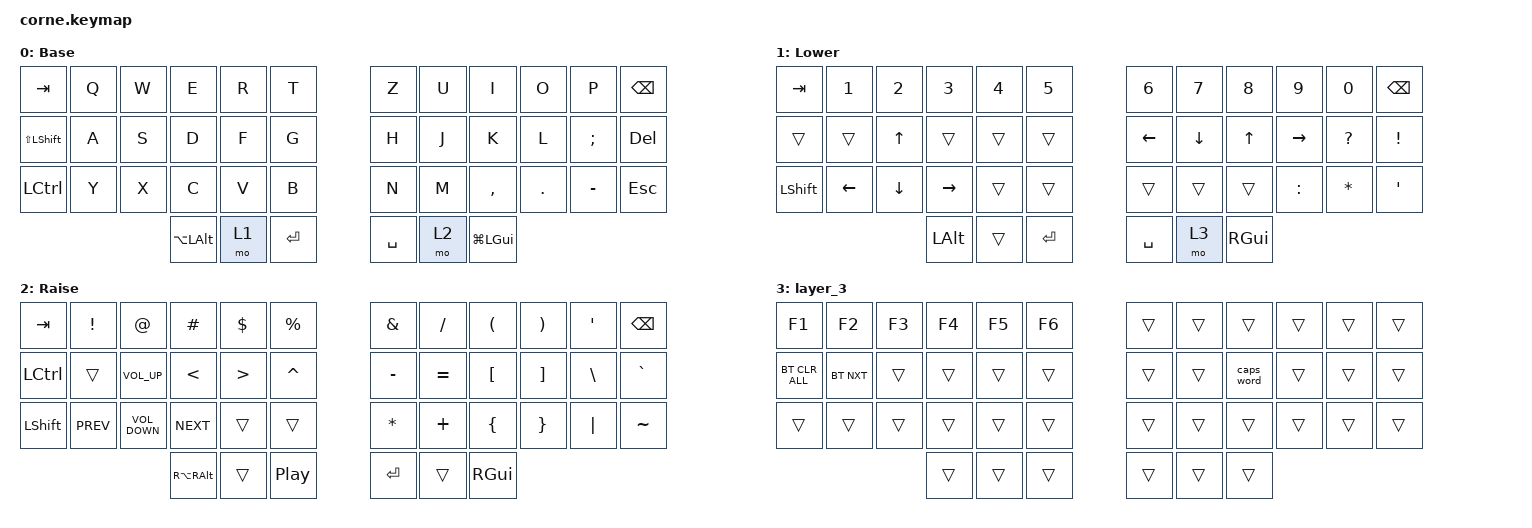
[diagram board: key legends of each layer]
/*
 * Copyright (c) 2020 The ZMK Contributors
 *
 * SPDX-License-Identifier: MIT
 */

#include <behaviors.dtsi>
#include <dt-bindings/zmk/bt.h>
#include <dt-bindings/zmk/keys.h>

/ {
    combos {
        compatible = "zmk,combos";

        altgr {
            bindings = <&kt RIGHT_ALT>;
            key-positions = <12 36>;
        };
    };

    keymap {
        compatible = "zmk,keymap";

        default_layer {
            // -----------------------------------------------------------------------------------------
            // |  TAB |  Q  |  W  |  E  |  R  |  T  |   |  Y  |  U   |  I  |  O  |  P  | BKSP |
            // | CTRL |  A  |  S  |  D  |  F  |  G  |   |  H  |  J   |  K  |  L  |  ;  |  '   |
            // | SHFT |  Z  |  X  |  C  |  V  |  B  |   |  N  |  M   |  ,  |  .  |  /  | ESC  |
            //                    | GUI | LWR | SPC |   | ENT | RSE  | ALT |

            display-name = "Base";
            bindings = <
&kp TAB             &kp Q  &kp W  &kp E             &kp R  &kp T        &kp Z      &kp U  &kp I             &kp O    &kp P      &kp BSPC
&kp LS(LEFT_SHIFT)  &kp A  &kp S  &kp D             &kp F  &kp G        &kp H      &kp J  &kp K             &kp L    &kp SEMI   &kp DEL
&kp LCTRL           &kp Y  &kp X  &kp C             &kp V  &kp B        &kp N      &kp M  &kp COMMA         &kp DOT  &kp MINUS  &kp ESC
                                  &kp LA(LEFT_ALT)  &mo 1  &kp ENTER    &kp SPACE  &mo 2  &kp LG(LEFT_GUI)
            >;
        };

        lower_layer {
            // -----------------------------------------------------------------------------------------
            // |  TAB |  1  |  2  |  3  |  4  |  5  |   |  6  |  7  |  8  |  9  |  0  | BKSP |
            // | BTCLR| BT1 | BT2 | BT3 | BT4 | BT5 |   | LFT | DWN |  UP | RGT |     |      |
            // | SHFT |     |     |     |     |     |   |     |     |     |     |     |      |
            //                    | GUI |     | SPC |   | ENT |     | ALT |

            display-name = "Lower";
            bindings = <
&kp TAB    &kp N1          &kp N2          &kp N3           &kp N4  &kp N5       &kp N6     &kp N7    &kp N8         &kp N9     &kp N0        &kp BSPC
&trans     &trans          &kp UP_ARROW    &trans           &trans  &trans       &kp LEFT   &kp DOWN  &kp UP         &kp RIGHT  &kp QUESTION  &kp EXCL
&kp LSHFT  &kp LEFT_ARROW  &kp DOWN_ARROW  &kp RIGHT_ARROW  &trans  &trans       &trans     &trans    &trans         &kp COLON  &kp ASTERISK  &kp APOS
                                           &kp LEFT_ALT     &trans  &kp ENTER    &kp SPACE  &mo 3     &kp RIGHT_GUI
            >;
        };

        raise_layer {
            // -----------------------------------------------------------------------------------------
            // |  TAB |  !  |  @  |  #  |  $  |  %  |   |  ^  |  &  |  *  |  (  |  )  | BKSP |
            // | CTRL |     |     |     |     |     |   |  -  |  =  |  [  |  ]  |  \  |  `   |
            // | SHFT |     |     |     |     |     |   |  _  |  +  |  {  |  }  | "|" |  ~   |
            //                    | GUI |     | SPC |   | ENT |     | ALT |

            display-name = "Raise";
            bindings = <
&kp TAB    &kp EXCL    &kp AT             &kp HASH           &kp DLLR          &kp PRCNT           &kp AMPERSAND  &kp SLASH  &kp LEFT_PARENTHESIS  &kp RIGHT_PARENTHESIS  &kp APOSTROPHE  &kp BSPC
&kp LCTRL  &trans      &kp C_VOLUME_UP    &kp LESS_THAN      &kp GREATER_THAN  &kp CARET           &kp MINUS      &kp EQUAL  &kp LBKT              &kp RBKT               &kp BSLH        &kp GRAVE
&kp LSHFT  &kp C_PREV  &kp C_VOLUME_DOWN  &kp C_NEXT         &trans            &trans              &kp ASTERISK   &kp PLUS   &kp LBRC              &kp RBRC               &kp PIPE        &kp TILDE
                                          &kp RA(RIGHT_ALT)  &trans            &kp C_PLAY_PAUSE    &kp RET        &trans     &kp RIGHT_GUI
            >;
        };

        layer_3 {
            bindings = <
&kp F1          &kp F2      &kp F3  &kp F4  &kp F5  &kp F6    &trans  &trans  &trans      &trans  &trans  &trans
&bt BT_CLR_ALL  &bt BT_NXT  &trans  &trans  &trans  &trans    &trans  &trans  &caps_word  &trans  &trans  &trans
&trans          &trans      &trans  &trans  &trans  &trans    &trans  &trans  &trans      &trans  &trans  &trans
                                    &trans  &trans  &trans    &trans  &trans  &trans
            >;
        };
    };
};
